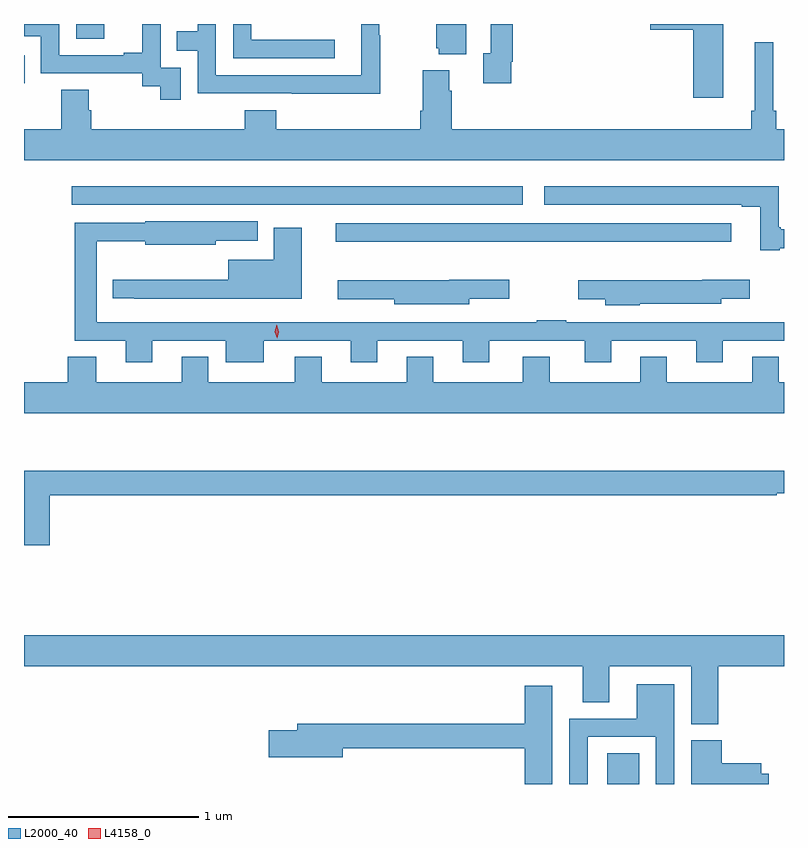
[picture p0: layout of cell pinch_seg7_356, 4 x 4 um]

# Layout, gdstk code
import gdstk
lib = gdstk.Library(unit=1e-6, precision=1e-09)
def R(c, l, rs):  # rectangles x0, y0, x1, y1
    for r in rs: c.add(gdstk.rectangle(r[:2], r[2:], *l))
def P(c, l, *ps):  # polygons
    for p in ps: c.add(gdstk.Polygon(p, *l))
L2000_40 = (2000, 40)
L4158_0 = (4158, 0)

pinch_seg7_356 = lib.new_cell('pinch_seg7_356')
R(pinch_seg7_356, L2000_40, [(445.505,1001.329,445.672,1001.492), (444.075,1004.183,446.158,1004.28), (442.686,1004.379,445.06,1004.476), (442.435,1005.018,442.439,1005.165), (442.71,1005.252,442.858,1005.329)])
P(pinch_seg7_356, L2000_40, [(444.07,1005.246),(443.631,1005.246),(443.631,1005.329),(443.535,1005.329),(443.535,1005.15),(444.07,1005.15)],
  [(444.763,1005.329),(444.605,1005.329),(444.605,1005.201),(444.617,1005.201),(444.617,1005.17),(444.763,1005.17)],
  [(445,1005.13),(445.007,1005.13),(445.007,1005.329),(444.891,1005.329),(444.891,1005.174),(444.851,1005.174),(444.851,1005.018),(445,1005.018)],
  [(443.259,1005.099),(443.154,1005.099),(443.154,1005.329),(443.057,1005.329),(443.057,1005.178),(442.961,1005.178),(442.961,1005.165),(442.62,1005.165),(442.62,1005.329),(442.435,1005.329),(442.435,1005.264),(442.524,1005.264),(442.524,1005.069),(443.058,1005.069),(443.058,1005.001),(443.151,1005.001),(443.151,1004.931),(443.259,1004.931)],
  [(444.309,1005.269),(444.306,1005.269),(444.306,1005.329),(444.21,1005.329),(444.21,1005.302),(444.209,1005.302),(444.209,1005.06),(443.445,1005.06),(443.445,1005.329),(443.349,1005.329),(443.349,1005.29),(443.239,1005.29),(443.239,1005.189),(443.349,1005.189),(443.349,1004.964),(443.845,1004.964),(443.845,1004.963),(444.309,1004.963)],
  [(446.116,1005.329),(445.73,1005.329),(445.73,1005.299),(445.958,1005.299),(445.958,1004.94),(446.116,1004.94)],
  [(446.435,1004.776),(446.393,1004.776),(446.393,1004.872),(446.379,1004.872),(446.379,1005.232),(446.282,1005.232),(446.282,1004.872),(446.263,1004.872),(446.263,1004.776),(444.686,1004.776),(444.686,1004.978),(444.673,1004.978),(444.673,1005.085),(444.533,1005.085),(444.533,1004.872),(444.521,1004.872),(444.521,1004.776),(443.762,1004.776),(443.762,1004.875),(443.597,1004.875),(443.597,1004.776),(442.79,1004.776),(442.79,1004.874),(442.777,1004.874),(442.777,1004.984),(442.63,1004.984),(442.63,1004.776),(442.435,1004.776),(442.435,1004.612),(446.435,1004.612)],
  [(446.413,1004.15),(446.435,1004.15),(446.435,1004.248),(446.419,1004.248),(446.419,1004.26),(446.407,1004.26),(446.407,1004.476),(445.173,1004.476),(445.173,1004.379),(446.213,1004.379),(446.213,1004.367),(446.309,1004.367),(446.309,1004.139),(446.413,1004.139)],
  [(443.11,1003.662),(443.498,1003.662),(443.498,1003.55),(443.698,1003.55),(443.698,1003.662),(444.155,1003.662),(444.155,1003.55),(444.295,1003.55),(444.295,1003.662),(444.743,1003.662),(444.743,1003.55),(444.883,1003.55),(444.883,1003.662),(445.385,1003.662),(445.385,1003.55),(445.525,1003.55),(445.525,1003.662),(445.973,1003.662),(445.973,1003.55),(446.113,1003.55),(446.113,1003.662),(446.435,1003.662),(446.435,1003.758),(445.289,1003.758),(445.289,1003.771),(445.134,1003.771),(445.134,1003.758),(442.818,1003.758),(442.818,1004.186),(443.073,1004.186),(443.073,1004.168),(443.445,1004.168),(443.445,1004.187),(443.665,1004.187),(443.665,1004.29),(443.073,1004.29),(443.073,1004.283),(442.702,1004.283),(442.702,1003.662),(442.97,1003.662),(442.97,1003.55),(443.11,1003.55)],
  [(443.896,1004.257),(443.75,1004.257),(443.75,1004.089),(443.51,1004.089),(443.51,1003.982),(442.903,1003.982),(442.903,1003.885),(443.014,1003.885),(443.014,1003.884),(443.614,1003.884),(443.614,1003.883),(443.896,1003.883)],
  [(444.778,1003.884),(444.988,1003.884),(444.988,1003.982),(444.674,1003.982),(444.674,1003.981),(444.087,1003.981),(444.087,1003.88),(444.384,1003.88),(444.384,1003.853),(444.778,1003.853)],
  [(445.677,1003.856),(446.106,1003.856),(446.106,1003.884),(446.254,1003.884),(446.254,1003.982),(446.006,1003.982),(446.006,1003.981),(445.353,1003.981),(445.353,1003.88),(445.493,1003.88),(445.493,1003.85),(445.677,1003.85)],
  [(446.435,1003.444),(446.407,1003.444),(446.407,1003.577),(446.267,1003.577),(446.267,1003.444),(445.819,1003.444),(445.819,1003.577),(445.679,1003.577),(445.679,1003.444),(445.201,1003.444),(445.201,1003.577),(445.061,1003.577),(445.061,1003.444),(444.589,1003.444),(444.589,1003.577),(444.449,1003.577),(444.449,1003.444),(444.001,1003.444),(444.001,1003.577),(443.861,1003.577),(443.861,1003.444),(443.404,1003.444),(443.404,1003.577),(443.264,1003.577),(443.264,1003.444),(442.816,1003.444),(442.816,1003.577),(442.664,1003.577),(442.664,1003.444),(442.435,1003.444),(442.435,1003.28),(446.435,1003.28)],
  [(442.571,1002.85),(446.398,1002.85),(446.398,1002.858),(446.435,1002.858),(446.435,1002.979),(442.435,1002.979),(442.435,1002.585),(442.571,1002.585)],
  [(446.09,1001.948),(446.435,1001.948),(446.435,1002.112),(442.435,1002.112),(442.435,1001.948),(445.376,1001.948),(445.376,1001.758),(445.516,1001.758),(445.516,1001.948),(445.946,1001.948),(445.946,1001.644),(446.09,1001.644)],
  [(445.401,1001.577),(445.761,1001.577),(445.761,1001.329),(445.857,1001.329),(445.857,1001.854),(445.661,1001.854),(445.661,1001.673),(445.305,1001.673),(445.305,1001.329),(445.401,1001.329)],
  [(445.216,1001.845),(445.07,1001.845),(445.07,1001.647),(443.873,1001.647),(443.873,1001.613),(443.724,1001.613),(443.724,1001.471),(444.112,1001.471),(444.112,1001.518),(445.07,1001.518),(445.07,1001.329),(445.216,1001.329)],
  [(446.356,1001.383),(446.314,1001.383),(446.314,1001.438),(446.108,1001.438),(446.108,1001.559),(445.946,1001.559),(445.946,1001.329),(446.356,1001.329)])
P(pinch_seg7_356, L4158_0, [(443.767,1003.675),(443.767,1003.675),(443.756,1003.71),(443.765,1003.745),(443.765,1003.745),(443.765,1003.745),(443.776,1003.71),(443.767,1003.675)])

lib.write_gds('pinch_seg7_356.gds')
